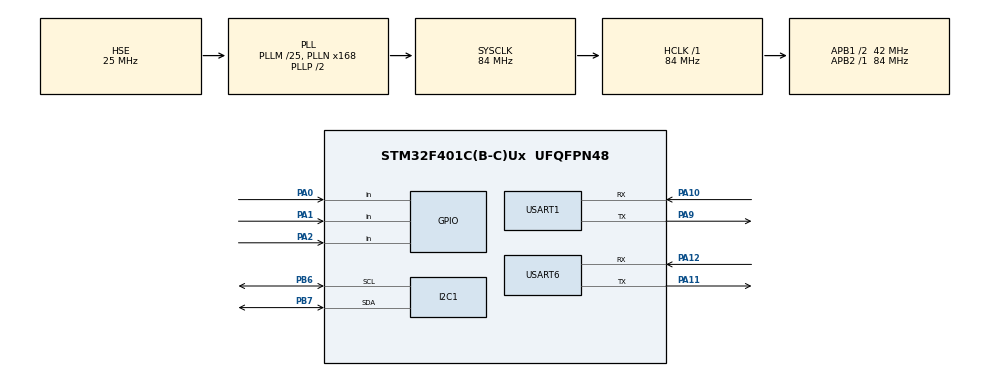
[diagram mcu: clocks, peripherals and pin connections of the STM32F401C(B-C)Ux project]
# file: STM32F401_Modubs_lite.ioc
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I2C1.I2C_Mode=I2C_Fast
Mcu.Family=STM32F4
Mcu.Name=STM32F401C(B-C)Ux
Mcu.Package=UFQFPN48
NVIC.PriorityGroup=NVIC_PRIORITYGROUP_4
NVIC.TIM1_TRG_COM_TIM11_IRQn=true\:0\:0\:false\:false\:true\:true\:true\:true
NVIC.USART1_IRQn=true\:0\:0\:false\:false\:true\:true\:true\:true
NVIC.USART6_IRQn=true\:0\:0\:false\:false\:true\:true\:true\:true
PA0-WKUP.GPIO_PuPd=GPIO_PULLUP
PA0-WKUP.Signal=GPIO_Input
PA1.GPIO_PuPd=GPIO_PULLUP
PA1.Signal=GPIO_Input
PA10.Mode=Asynchronous
PA10.Signal=USART1_RX
PA11.Mode=Asynchronous
PA11.Signal=USART6_TX
PA12.Mode=Asynchronous
PA12.Signal=USART6_RX
PA13.Mode=Serial_Wire
PA13.Signal=SYS_JTMS-SWDIO
PA14.Mode=Serial_Wire
PA14.Signal=SYS_JTCK-SWCLK
PA2.GPIO_PuPd=GPIO_PULLUP
PA2.Signal=GPIO_Input
PA9.Mode=Asynchronous
PA9.Signal=USART1_TX
PB6.Mode=I2C
PB6.Signal=I2C1_SCL
PB7.Mode=I2C
PB7.Signal=I2C1_SDA
PH0\ -\ OSC_IN.Mode=HSE-External-Oscillator
PH0\ -\ OSC_IN.Signal=RCC_OSC_IN
PH1\ -\ OSC_OUT.Mode=HSE-External-Oscillator
PH1\ -\ OSC_OUT.Signal=RCC_OSC_OUT
ProjectManager.HeapSize=0x200
ProjectManager.StackSize=0x400
ProjectManager.TargetToolchain=MDK-ARM V5.32
RCC.48MHZClocksFreq_Value=42000000
RCC.AHBFreq_Value=84000000
RCC.APB1CLKDivider=RCC_HCLK_DIV2
RCC.APB1Freq_Value=42000000
RCC.APB1TimFreq_Value=84000000
RCC.APB2Freq_Value=84000000
RCC.APB2TimFreq_Value=84000000
RCC.CortexFreq_Value=84000000
RCC.HCLKFreq_Value=84000000
RCC.HSE_VALUE=25000000
RCC.HSI_VALUE=16000000
RCC.LSE_VALUE=32768
RCC.PLLM=25
RCC.PLLN=168
RCC.PLLSourceVirtual=RCC_PLLSOURCE_HSE
RCC.SYSCLKFreq_VALUE=84000000
RCC.SYSCLKSource=RCC_SYSCLKSOURCE_PLLCLK
RCC.VCOOutputFreq_Value=168000000
TIM11.AutoReloadPreload=TIM_AUTORELOAD_PRELOAD_ENABLE
TIM11.ClockDivision=TIM_CLOCKDIVISION_DIV1
TIM11.Period=1000
TIM11.Prescaler=84
USART1.VirtualMode=VM_ASYNC
USART1.WordLength=WORDLENGTH_8B
USART6.VirtualMode=VM_ASYNC
VP_TIM11_VS_ClockSourceINT.Mode=Enable_Timer
board=custom

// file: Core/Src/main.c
/* USER CODE BEGIN Header */
/**
  ******************************************************************************
  * @file           : main.c
  * @brief          : Main program body
  ******************************************************************************
  * @attention
  *
  * Copyright (c) 2026 STMicroelectronics.
  * All rights reserved.
  *
  * This software is licensed under terms that can be found in the LICENSE file
  * in the root directory of this software component.
  * If no LICENSE file comes with this software, it is provided AS-IS.
  *
  ******************************************************************************
  */
/* USER CODE END Header */
#include "main.h"
#include "i2c.h"
#include "tim.h"
#include "usart.h"
#include "gpio.h"

/* USER CODE BEGIN Includes */

#include "key.h"
#include "oled12824_iic.h"
#include "modbus.h"

/* USER CODE END Includes */

/* USER CODE BEGIN PV */
extern uint8_t modbus_rx_standby;
/* USER CODE END PV */

void SystemClock_Config(void);

/* USER CODE BEGIN 0 */

void modbus_connect_lost(void)
{
    // OLED_GRAM_Clear(0);
    // if(modbus_mode())   //主机模式
    // {
    //     OLED_ShowStringG(0, 0, "Master mode", 16, 1);
    // }
    // else  //从机模式
    // {
    //     OLED_ShowStringG(0, 0, "Slave mode", 16, 1);
    // }
    // OLED_ShowStringG(0, 3, "Reconnecting...", 16, 0);
    // OLED_Refresh_Gram();
}

/* USER CODE END 0 */

int main(void)
{

  /* USER CODE BEGIN 1 */
  uint8_t light_status;
  uint8_t light_status_temp;
  uint16_t counter;

  uint8_t slave_address;
  uint16_t slave_light_coil_addr;
  uint16_t slave_counter_reg_addr;

  volatile uint8_t slave_status;

  /* USER CODE END 1 */

  /* MCU Configuration--------------------------------------------------------*/

  /* Reset of all peripherals, Initializes the Flash interface and the Systick. */
  HAL_Init();

  /* Configure the system clock */
  SystemClock_Config();

  /* Initialize all configured peripherals */
  MX_GPIO_Init();
  MX_I2C1_Init();
  MX_USART1_UART_Init();
  MX_USART6_UART_Init();
  MX_TIM11_Init();
  /* USER CODE BEGIN 2 */

  OLED_Init();
  OLED_GRAM_Clear(0);
  OLED_Refresh_Gram();

  counter = 0;
  light_status = 0;

  //设置从站地址
  slave_address = 0x10;

  //设置从站数据存储地址，默认为可用的首地址
  slave_light_coil_addr = COILS_START_ADDRESS;
  slave_counter_reg_addr = HOLDING_REG_START_ADDRESS;

  if(key_scan2(200))  //从机模式
  {
      PrintString1("UART1: Enter modbus slave mode!\r\n");
      // PrintString2("UART2: Enter modbus slave mode!\r\n");
      modbus_RTU_init(0, slave_address);

      OLED_GRAM_Clear(0);
      OLED_ShowStringG(0, 0, "Slave", 16, 0);
      OLED_ShowStringG(0, 3, "Initializing...", 16, 0);
      OLED_Refresh_Gram();

      light_status_temp = light_status;
      modbus_write_bit_status(slave_light_coil_addr, &light_status);
      modbus_write_reg_value(slave_counter_reg_addr, &counter);

      OLED_GRAM_Clear(0);
      OLED_ShowStringG(0, 0, "Slave", 16, 1);
      if(light_status)
      {
          // LED_ctrl_1 = 1;
          OLED_ShowStringG(0, 4, "Light On", 16, 0);
          OLED_DrawRoundRectangleG(85, 20, 124, 59, 8, 1, 1);
          OLED_Refresh_Gram();
      }
      else
      {
          // LED_ctrl_1 = 0;
          OLED_ShowStringG(0, 4, "Light Off", 16, 0);
          OLED_DrawRoundRectangleG(85, 20, 124, 59, 8, 0, 1);
          OLED_Refresh_Gram();
      }
      OLED_ShowStringG(0, 6, "Cnt:", 16, 0);
      OLED_ShowNumG(45, 6, counter, 1, 16, 0);
      OLED_Refresh_Gram();

      while(1)
      {
          modbus_RTU_slave();

          modbus_get_bit_status(slave_light_coil_addr, &light_status_temp);   //读取灯状态寄存器
          if(light_status_temp != light_status)
          {
              OLED_GRAM_Clear(0);
              light_status = light_status_temp;
              if(light_status)
              {
                  modbus_get_reg_value(slave_counter_reg_addr, &counter);     //读取计数寄存器
                  counter++;
                  modbus_write_reg_value(slave_counter_reg_addr, &counter);   //写入计数寄存器

                  // LED_ctrl_1 = 1;
                  OLED_ShowStringG(0, 4, "Light On", 16, 0);
                  OLED_DrawRoundRectangleG(85, 20, 124, 59, 8, 1, 1);
              }
              else
              {
                  // LED_ctrl_1 = 0;
                  OLED_GRAM_Clear(0);
                  OLED_ShowStringG(0, 4, "Light Off", 16, 0);
                  OLED_DrawRoundRectangleG(85, 20, 124, 59, 8, 0, 1);
              }
          }
          modbus_get_reg_value(slave_counter_reg_addr, &counter);
          OLED_ShowStringG(0, 6, "Cnt:", 16, 0);
          OLED_ShowNumG(45, 6, counter, 3, 16, 0);

          OLED_ShowStringG(0, 0, "Slave", 16, 1);
          OLED_ShowStringG(0, 2, "Addr:", 16, 0);
          OLED_ShowNumG(45, 2, slave_address, 3, 16, 0);
          OLED_Refresh_Gram();
      }
  }
  else    //主机模式
  {
      PrintString1("UART1: Enter modbus master mode!\r\n");
      // PrintString2("UART2: Enter modbus master mode!\r\n");
      modbus_RTU_init(1, slave_address);

      OLED_GRAM_Clear(0);
      OLED_ShowStringG(0, 0, "Master", 16, 0);
      OLED_ShowStringG(0, 3, "Connecting...", 16, 0);
      OLED_Refresh_Gram();

      // while(1)
      // {
      //   modbus_RTU_write_single_coil(slave_address, slave_light_coil_addr, 0, 1000);
      //   key_scan();
      // }

      //熄灯并清除从机计数器
      slave_status = 1;
      while(slave_status) slave_status = modbus_RTU_write_single_coil(slave_address, slave_light_coil_addr, 0, 300);

      slave_status = 1;
      while(slave_status) slave_status = modbus_RTU_write_single_reg(slave_address, slave_counter_reg_addr, 0, 300);

      while(1)
      {

          while(modbus_RTU_read_coils(slave_address, slave_light_coil_addr, 1, &light_status, 300)) modbus_connect_lost(); // 读取从机灯状态
          while(modbus_RTU_read_holding_regs(slave_address, slave_counter_reg_addr, 1, &counter, 300)) modbus_connect_lost(); // 读取从机计数值

          //刷新显示
          OLED_GRAM_Clear(0);
          OLED_ShowStringG(0, 0, "Master", 16, 1);
          OLED_ShowStringG(0, 2, "Dest:", 16, 0);
          OLED_ShowNumG(45, 2, slave_address, 3, 16, 0);
          if(light_status)
          {
              OLED_ShowStringG(0, 4, "Light On", 16, 0);
              OLED_DrawRoundRectangleG(85, 20, 124, 59, 8, 1, 1);
          }
          else
          {
              OLED_ShowStringG(0, 4, "Light Off", 16, 0);
              OLED_DrawRoundRectangleG(85, 20, 124, 59, 8, 0, 1);
          }
          OLED_ShowStringG(0, 6, "Cnt:", 16, 0);
          OLED_ShowNumG(42, 6, counter, 3, 16, 0);
          OLED_Refresh_Gram();

          //检测按键
          if(key_scan2(50))
          {
              while(modbus_RTU_read_coils(slave_address, slave_light_coil_addr, 1, &light_status, 300)) modbus_connect_lost();
              light_status = !light_status;
              while(modbus_RTU_write_single_coil(slave_address, slave_light_coil_addr, light_status, 300)) modbus_connect_lost();
              while(modbus_RTU_read_holding_regs(slave_address, slave_counter_reg_addr, 1, &counter, 300)) modbus_connect_lost();
          }
      }
  }

  /* USER CODE END 2 */

  /* Infinite loop */
  while (1)
  {

  }
}

void SystemClock_Config(void)
{
  RCC_OscInitTypeDef RCC_OscInitStruct = {0};
  RCC_ClkInitTypeDef RCC_ClkInitStruct = {0};

  /** Configure the main internal regulator output voltage
  */
  __HAL_RCC_PWR_CLK_ENABLE();
  __HAL_PWR_VOLTAGESCALING_CONFIG(PWR_REGULATOR_VOLTAGE_SCALE2);

  /** Initializes the RCC Oscillators according to the specified parameters
  * in the RCC_OscInitTypeDef structure.
  */
  RCC_OscInitStruct.OscillatorType = RCC_OSCILLATORTYPE_HSE;
  RCC_OscInitStruct.HSEState = RCC_HSE_ON;
  RCC_OscInitStruct.PLL.PLLState = RCC_PLL_ON;
  RCC_OscInitStruct.PLL.PLLSource = RCC_PLLSOURCE_HSE;
  RCC_OscInitStruct.PLL.PLLM = 25;
  RCC_OscInitStruct.PLL.PLLN = 168;
  RCC_OscInitStruct.PLL.PLLP = RCC_PLLP_DIV2;
  RCC_OscInitStruct.PLL.PLLQ = 4;
  if (HAL_RCC_OscConfig(&RCC_OscInitStruct) != HAL_OK)
  {
    Error_Handler();
  }

  /** Initializes the CPU, AHB and APB buses clocks
  */
  RCC_ClkInitStruct.ClockType = RCC_CLOCKTYPE_HCLK|RCC_CLOCKTYPE_SYSCLK
                              |RCC_CLOCKTYPE_PCLK1|RCC_CLOCKTYPE_PCLK2;
  RCC_ClkInitStruct.SYSCLKSource = RCC_SYSCLKSOURCE_PLLCLK;
  RCC_ClkInitStruct.AHBCLKDivider = RCC_SYSCLK_DIV1;
  RCC_ClkInitStruct.APB1CLKDivider = RCC_HCLK_DIV2;
  RCC_ClkInitStruct.APB2CLKDivider = RCC_HCLK_DIV1;

  if (HAL_RCC_ClockConfig(&RCC_ClkInitStruct, FLASH_LATENCY_2) != HAL_OK)
  {
    Error_Handler();
  }
}

void Error_Handler(void)
{
  __disable_irq();
  while (1)
  {
  }
}
